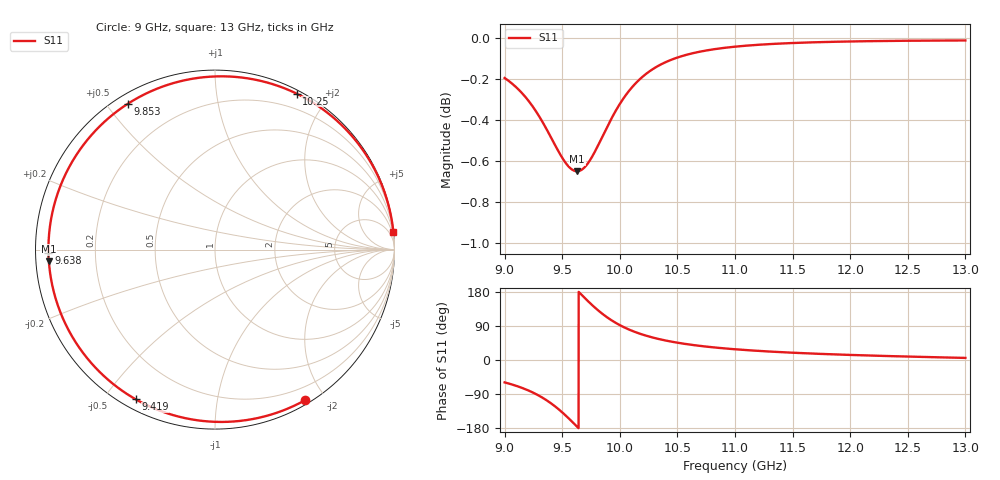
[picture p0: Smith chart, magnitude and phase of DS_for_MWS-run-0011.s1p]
! TOUCHSTONE file generated by CST DESIGN STUDIO
! Date and time: Tue Feb  4 18:06:12 2025
! Project name: C:\Work\MatlabApps\UnitCellOptimizationMatlab\CST\unitcell.cst
! Tree item: Tasks\Sweep1\SPara1\S-Parameters
! Header version: 2024
! Port assignment regex: !\s*Touchstone port\s*([0-9]+)\s*=\s*(CST MWS port|CST DES external port|CST DES block port)\s*(.+)\s* \(\"(.*)\"\)(\s*mode\s*([0-9]+))?.*
! Touchstone port assignment:
! Touchstone port 1 = CST DES external port 1 ("")
# GHz S MA R 50
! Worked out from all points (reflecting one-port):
!   4001 points, 9 GHz to 13 GHz, reference 50 ohm
!   lowest |S11| = -0.6 dB at 9.629 GHz (marker M1), VSWR 26.75, Z = 1.87 - j1.77 ohm
!   phase of S11 starts at -59 deg and turns -295 deg over the sweep
!   S11 on the Smith chart (normalised r, x): 9 GHz: 0.05, -1.76; 9.419 GHz: 0.04, -0.60; 9.638 GHz: 0.04, -0.01; 9.853 GHz: 0.04, +0.57; 10.25 GHz: 0.04, +1.65; 13 GHz: 0, +21
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9  0.9777 -59.1
9.105  0.9723 -68.6
9.211  0.965 -81.0
9.273  0.9595 -90.0
9.326  0.9542 -99.0
9.374  0.949 -108.2
9.419  0.9438 -117.9
9.46  0.9392 -127.7
9.5  0.935 -138.1
9.569  0.9296 -157.7
9.629  0.9279 -175.9
9.638  0.928 -178.7
9.683  0.9294 167.5
9.731  0.9328 153.2
9.793  0.9393 135.9
9.853  0.9466 120.9
9.922  0.9551 106.0
10  0.9635 92.0
10.119  0.9735 75.5
10.248  0.9809 62.4
10.365  0.9854 53.5
10.5  0.9889 45.7
10.72  0.9925 36.4
11  0.9949 28.3
11.5  0.997 19.2
12  0.9979 13.4
12.5  0.9983 9.0
13  0.9984 5.5
